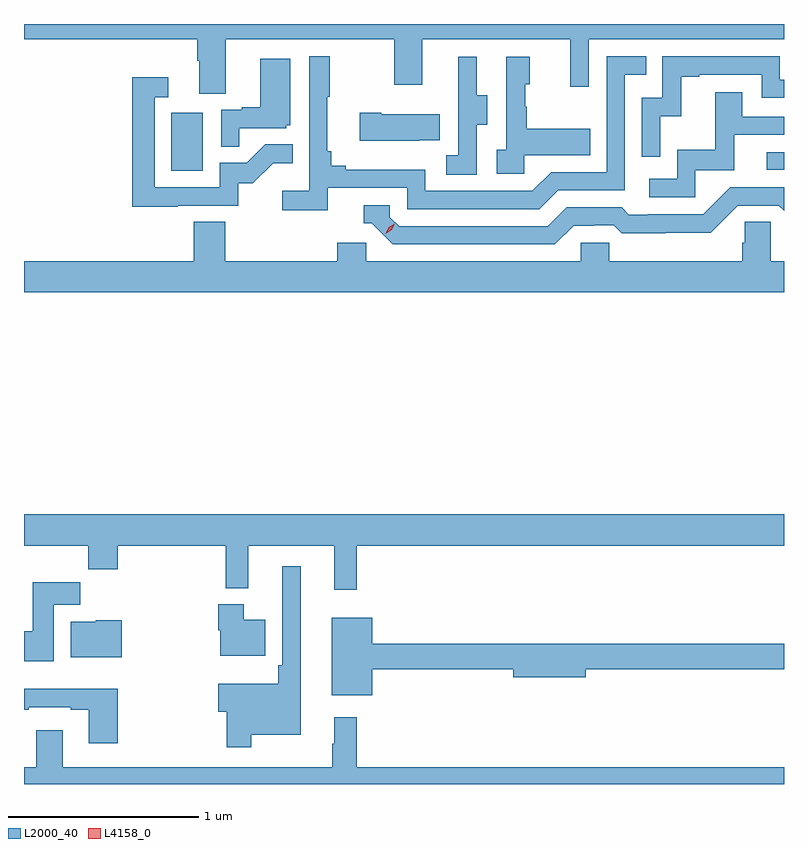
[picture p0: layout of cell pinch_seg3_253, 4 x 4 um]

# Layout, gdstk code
import gdstk
lib = gdstk.Library(unit=1e-6, precision=1e-09)
def R(c, l, rs):  # rectangles x0, y0, x1, y1
    for r in rs: c.add(gdstk.rectangle(r[:2], r[2:], *l))
def P(c, l, *ps):  # polygons
    for p in ps: c.add(gdstk.Polygon(p, *l))
L2000_40 = (2000, 40)
L4158_0 = (4158, 0)

pinch_seg3_253 = lib.new_cell('pinch_seg3_253')
R(pinch_seg3_253, L2000_40, [(921.452,720.204,921.616,720.511), (924.585,720.21,924.676,720.303)])
P(pinch_seg3_253, L2000_40, [(921.739,720.896),(922.624,720.896),(922.624,720.657),(922.771,720.657),(922.771,720.896),(923.552,720.896),(923.552,720.648),(923.649,720.648),(923.649,720.896),(924.676,720.896),(924.676,720.977),(920.676,720.977),(920.676,720.896),(921.587,720.896),(921.587,720.784),(921.599,720.784),(921.599,720.61),(921.739,720.61)],
  [(922.274,720.114),(922.692,720.114),(922.692,720.003),(923.389,720.003),(923.488,720.102),(923.838,720.102),(923.838,720.711),(923.951,720.711),(923.951,720.807),(923.742,720.807),(923.742,720.198),(923.451,720.198),(923.352,720.099),(922.788,720.099),(922.788,720.211),(922.369,720.211),(922.369,720.23),(922.292,720.23),(922.292,720.307),(922.273,720.307),(922.273,720.595),(922.285,720.595),(922.285,720.808),(922.176,720.808),(922.176,720.1),(922.035,720.1),(922.035,719.998),(922.274,719.998)],
  [(924.024,720.491),(924.134,720.491),(924.134,720.699),(924.229,720.699),(924.229,720.711),(924.558,720.711),(924.558,720.588),(924.676,720.588),(924.676,720.684),(924.654,720.684),(924.654,720.807),(924.036,720.807),(924.036,720.588),(923.928,720.588),(923.928,720.279),(924.024,720.279)],
  [(923.31,720.287),(923.657,720.287),(923.657,720.427),(923.323,720.427),(923.323,720.542),(923.313,720.542),(923.313,720.66),(923.338,720.66),(923.338,720.805),(923.214,720.805),(923.214,720.314),(923.163,720.314),(923.163,720.189),(923.31,720.189)],
  [(923.058,720.448),(923.113,720.448),(923.113,720.603),(923.059,720.603),(923.059,720.805),(922.961,720.805),(922.961,720.591),(922.962,720.591),(922.962,720.287),(922.899,720.287),(922.899,720.184),(923.058,720.184)],
  [(921.809,720.429),(922.056,720.429),(922.056,720.444),(922.078,720.444),(922.078,720.793),(921.92,720.793),(921.92,720.538),(921.821,720.538),(921.821,720.525),(921.714,720.525),(921.714,720.331),(921.809,720.331)],
  [(921.485,720.021),(921.804,720.021),(921.804,720.138),(921.88,720.138),(921.987,720.245),(922.091,720.245),(922.091,720.344),(921.947,720.344),(921.849,720.246),(921.705,720.246),(921.705,720.117),(921.363,720.117),(921.363,720.591),(921.436,720.591),(921.436,720.697),(921.247,720.697),(921.247,720.016),(921.485,720.016)],
  [(924.21,720.207),(924.415,720.207),(924.415,720.393),(924.676,720.393),(924.676,720.489),(924.457,720.489),(924.457,720.619),(924.313,720.619),(924.313,720.316),(924.114,720.316),(924.114,720.162),(923.967,720.162),(923.967,720.066),(924.21,720.066)],
  [(922.757,720.365),(922.865,720.365),(922.865,720.502),(922.555,720.502),(922.555,720.51),(922.443,720.51),(922.443,720.362),(922.757,720.362)],
  [(923.569,719.916),(923.676,719.916),(923.676,719.919),(923.779,719.919),(923.821,719.877),(924.054,719.877),(924.054,719.879),(924.29,719.879),(924.432,720.021),(924.648,720.021),(924.676,719.993),(924.676,720.117),(924.393,720.117),(924.252,719.976),(923.959,719.976),(923.959,719.973),(923.86,719.973),(923.821,720.012),(923.532,720.012),(923.433,719.913),(922.65,719.913),(922.602,719.961),(922.602,720.024),(922.463,720.024),(922.463,719.928),(922.506,719.928),(922.617,719.817),(923.47,719.817)],
  [(924.676,719.728),(924.606,719.728),(924.606,719.936),(924.469,719.936),(924.469,719.826),(924.455,719.826),(924.455,719.728),(923.757,719.728),(923.757,719.826),(923.607,719.826),(923.607,719.728),(922.476,719.728),(922.476,719.826),(922.325,719.826),(922.325,719.728),(921.734,719.728),(921.734,719.936),(921.569,719.936),(921.569,719.728),(920.676,719.728),(920.676,719.564),(924.676,719.564)],
  [(922.427,718.232),(924.676,718.232),(924.676,718.396),(920.676,718.396),(920.676,718.232),(921.013,718.232),(921.013,718.108),(921.17,718.108),(921.17,718.232),(921.739,718.232),(921.739,718.007),(921.857,718.007),(921.857,718.232),(922.31,718.232),(922.31,717.999),(922.427,717.999)],
  [(921.871,717.236),(922.132,717.236),(922.132,718.123),(922.035,718.123),(922.035,717.601),(922.015,717.601),(922.015,717.505),(921.698,717.505),(921.698,717.358),(921.742,717.358),(921.742,717.171),(921.871,717.171)],
  [(920.833,717.92),(920.972,717.92),(920.972,718.039),(920.723,718.039),(920.723,717.78),(920.676,717.78),(920.676,717.624),(920.833,717.624)],
  [(921.946,717.841),(921.832,717.841),(921.832,717.922),(921.698,717.922),(921.698,717.786),(921.71,717.786),(921.71,717.653),(921.946,717.653)],
  [(922.51,717.58),(923.252,717.58),(923.252,717.538),(923.632,717.538),(923.632,717.58),(924.676,717.58),(924.676,717.716),(922.51,717.716),(922.51,717.853),(922.295,717.853),(922.295,717.443),(922.51,717.443)],
  [(921.19,717.838),(921.054,717.838),(921.054,717.832),(920.921,717.832),(920.921,717.644),(921.19,717.644)],
  [(921.17,717.478),(920.676,717.478),(920.676,717.369),(920.701,717.369),(920.701,717.381),(920.921,717.381),(920.921,717.369),(921.017,717.369),(921.017,717.192),(921.17,717.192)],
  [(924.676,717.064),(922.427,717.064),(922.427,717.328),(922.31,717.328),(922.31,717.188),(922.299,717.188),(922.299,717.064),(920.881,717.064),(920.881,717.259),(920.741,717.259),(920.741,717.064),(920.676,717.064),(920.676,716.977),(924.676,716.977)])
P(pinch_seg3_253, L4158_0, [(922.58,719.874),(922.58,719.874),(922.596,719.907),(922.626,719.927),(922.626,719.927),(922.626,719.926),(922.611,719.894),(922.58,719.874)])

lib.write_gds('pinch_seg3_253.gds')
